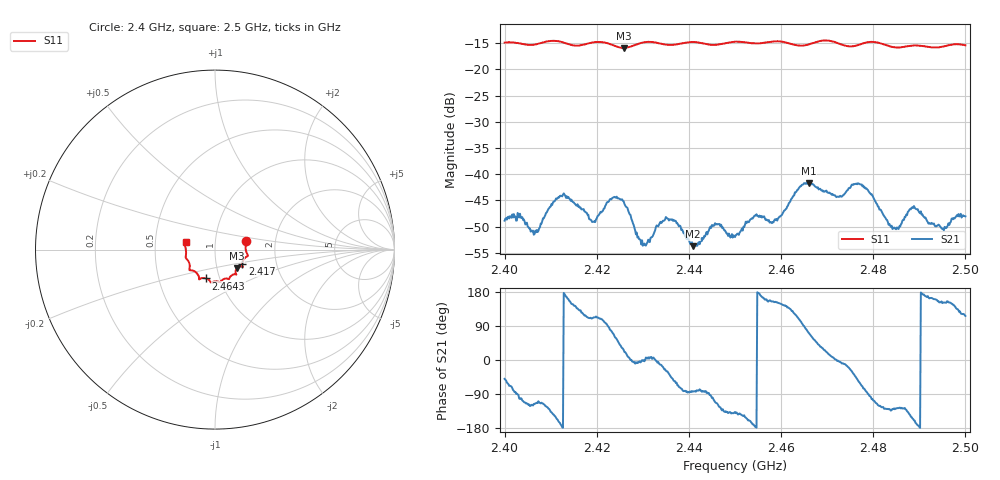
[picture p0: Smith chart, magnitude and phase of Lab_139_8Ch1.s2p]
# Hz S RI R 50
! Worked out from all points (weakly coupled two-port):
!   601 points, 2.4 GHz to 2.5 GHz, reference 50 ohm
!   highest |S21| = -41.68 dB at 2.466 GHz (marker M1); lowest = -53.7 dB at 2.4408 GHz (marker M2)
!   lowest |S11| = -15.9 dB at 2.4258 GHz (marker M3), VSWR 1.38, Z = 62.3 - j13.3 ohm
!   |S11| at or under -10 dB: start of sweep to end of sweep
!   S12 and S22 are empty: the file has one direction only
!   S11 on the Smith chart (normalised r, x): 2.4 GHz: 1.41, +0.14; 2.417 GHz: 1.34, -0.22; 2.4643 GHz: 0.86, -0.28; 2.5 GHz: 0.72, +0.06
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2.4e9  0.173 0.0486  0.00232 -0.00275  0 0  0 0
2.406833e9  0.1728 -0.00829  -0.00113 -0.00255  0 0  0 0
2.4125e9  0.1772 -0.0392  -0.00613 -0.000301  0 0  0 0
2.416667e9  0.1526 -0.0743  -0.00265 0.00377  0 0  0 0
2.417e9  0.1521 -0.0781  -0.00247 0.0039  0 0  0 0
2.419333e9  0.1533 -0.096  -0.00134 0.00325  0 0  0 0
2.425833e9  0.1218 -0.1038  0.00492 0.00248  0 0  0 0
2.430167e9  0.1176 -0.1373  0.00213 -1.62e-05  0 0  0 0
2.433333e9  0.1127 -0.1373  0.00317 -0.000278  0 0  0 0
2.436667e9  0.0893 -0.1464  0.00215 -0.00298  0 0  0 0
2.440833e9  0.078 -0.1649  0.000265 -0.00204  0 0  0 0
2.446167e9  0.0465 -0.1654  -0.00142 -0.003  0 0  0 0
2.45e9  0.0287 -0.1808  -0.00184 -0.0017  0 0  0 0
2.459333e9  -0.0232 -0.1836  -0.00329 0.00184  0 0  0 0
2.464333e9  -0.0499 -0.1606  -0.00147 0.00753  0 0  0 0
2.466e9  -0.0692 -0.1582  0.0026 0.00783  0 0  0 0
2.466667e9  -0.0758 -0.1593  0.00384 0.00701  0 0  0 0
2.477333e9  -0.1297 -0.1155  0.00332 -0.00723  0 0  0 0
2.483333e9  -0.1406 -0.0898  -0.00211 -0.00252  0 0  0 0
2.4885e9  -0.1616 -0.0479  -0.00434 -0.00211  0 0  0 0
2.495167e9  -0.1643 0.0117  -0.00265 0.00144  0 0  0 0
2.5e9  -0.1639 0.0429  -0.00175 0.00355  0 0  0 0
